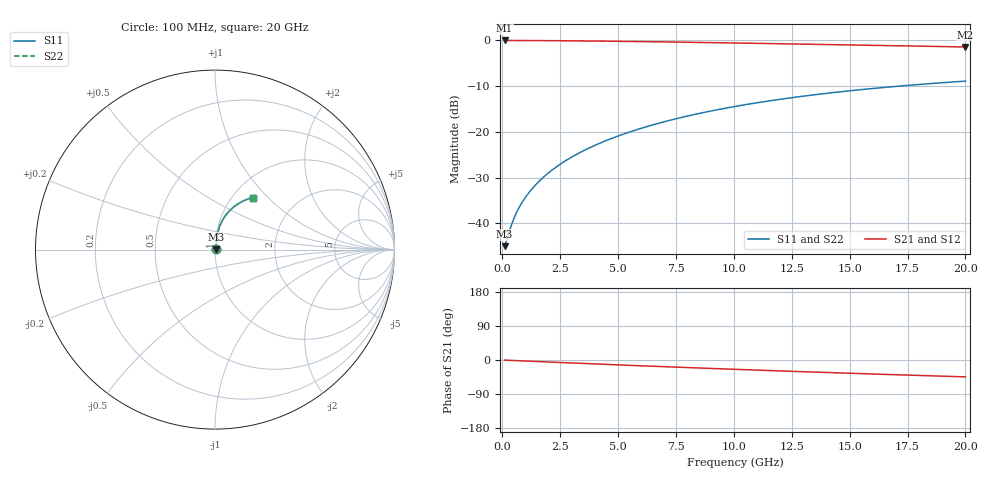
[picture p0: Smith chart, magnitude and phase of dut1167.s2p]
! Touchstone file exported from HFSS 2024.1.0
!  File:  C:/UserFiles/LocalFiles/RDL_TSV_Batchsim/temp_RDL_bottom_1167_1780056753.aedt
!  Generated:  08:14:37 PM May 29, 2026
!  Design:  RDL_bottom
!  Project:  temp_RDL_bottom_1167_1780056753
!  Setup:  Setup1
!  Solution:  Sweep
! Variables:
!  dtsv = 10.80580581um
!  hbump = 3um
!  htsv = 89.01um
!  ldown = 664.33um
!  lrdl = 100um
!  p = 40
!  p1 = 41.81um
!  rhole = 1um
!  t = 450um
!  tdown = 2.17um
!  trdl = 3.915915916um
!  wdown = 21.61um
!  wrdl = 20um
# GHz S MA R 50.000000
! Terminal data exported
! Port[1] = RDL1_T1
! Port[2] = RDL1_T2
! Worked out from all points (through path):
!   200 points, 100 MHz to 20 GHz, reference 50 ohm
!   highest |S21| = -0.05 dB at 100 MHz (marker M1); lowest = -1.5 dB at 20 GHz (marker M2)
!   group delay of S21, straight-line fit = 6.15 ps
!   lowest |S11| = -45.0 dB at 100 MHz (marker M3), VSWR 1.01, Z = 50.5 + j0.205 ohm
!   |S11| at or under -10 dB: start of sweep to 17.17 GHz
!   |S22| runs from -45.0 to -8.9 dB; largest |S21 - S12| = 2.9e-15
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0.1  0.005656 21.0  0.9947 -0.3  0.9947 -0.3  0.005656 21.0
! Gamma 0 0 0 0
! Port Impedance 50 0 50 0
0.4  0.009728 53.0  0.994 -1.1  0.994 -1.1  0.009729 53.0
0.5  0.01132 57.5  0.9938 -1.4  0.9938 -1.4  0.01133 57.5
0.6  0.01293 60.8  0.9935 -1.6  0.9935 -1.6  0.01293 60.8
0.7  0.01452 63.4  0.9932 -1.9  0.9932 -1.9  0.01452 63.4
0.9  0.01771 67.3  0.9926 -2.4  0.9926 -2.4  0.01771 67.3
1.2  0.02252 71.4  0.9919 -3.2  0.9919 -3.2  0.02252 71.4
1.4  0.02577 73.3  0.9913 -3.7  0.9913 -3.7  0.02577 73.3
1.7  0.03072 75.5  0.9904 -4.5  0.9904 -4.5  0.03072 75.5
2.2  0.03917 77.9  0.9887 -5.8  0.9887 -5.8  0.03917 77.9
2.8  0.04959 79.6  0.9863 -7.4  0.9863 -7.4  0.04959 79.6
3.5  0.06211 80.6  0.9829 -9.1  0.9829 -9.1  0.06211 80.6
4.2  0.07498 80.9  0.979 -10.9  0.979 -10.9  0.07498 80.9
5  0.09008 80.7  0.9739 -12.9  0.9739 -12.9  0.09006 80.7
5.9  0.1075 80.1  0.9676 -15.1  0.9676 -15.1  0.1074 80.1
6.8  0.1251 79.1  0.9607 -17.2  0.9607 -17.2  0.1251 79.0
8.4  0.1569 76.7  0.9477 -20.9  0.9477 -20.9  0.1568 76.6
10.1  0.1904 73.6  0.933 -24.7  0.933 -24.7  0.1904 73.6
11.7  0.2212 70.5  0.9187 -28.2  0.9187 -28.2  0.2211 70.4
13.4  0.2527 67.0  0.9034 -31.7  0.9034 -31.7  0.2525 67.0
16.7  0.3089 60.4  0.8736 -38.3  0.8736 -38.3  0.3087 60.4
20  0.3579 54.1  0.8446 -44.5  0.8446 -44.5  0.3577 54.0
